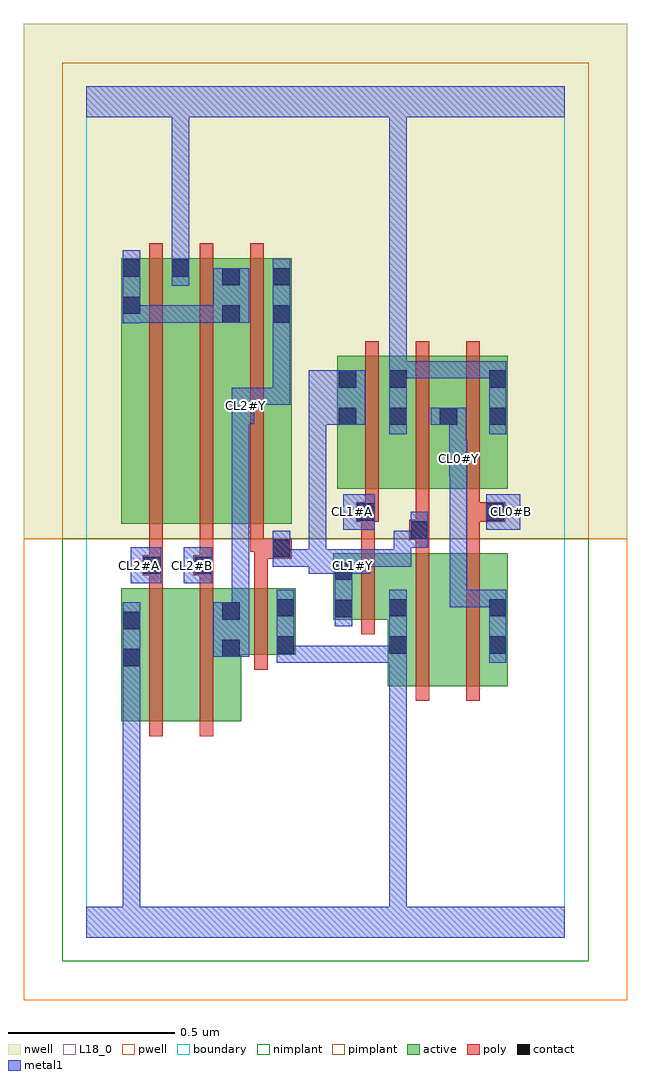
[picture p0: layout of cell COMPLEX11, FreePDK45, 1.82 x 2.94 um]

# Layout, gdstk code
import gdstk
lib = gdstk.Library(unit=1e-6, precision=1e-09)
def R(c, l, rs):  # rectangles x0, y0, x1, y1
    for r in rs: c.add(gdstk.rectangle(r[:2], r[2:], *l))
def A(c, l, x, y, w, h, nx, ny, dx, dy):  # array of equal rectangles
    R(c, l, [(x+i*dx, y+j*dy, x+i*dx+w, y+j*dy+h) for i in range(nx) for j in range(ny)])
active = (1, 0)
pwell = (2, 0)
nwell = (3, 0)
nimplant = (4, 0)
pimplant = (5, 0)
poly = (9, 0)
contact = (10, 0)
metal1 = (11, 0)
L18_0 = (18, 0)
boundary = (235, 0)

complex11 = lib.new_cell('COMPLEX11')
R(complex11, active, [(0.106,0.65,0.286,1.05), (0.286,0.65,0.466,1.05), (0.406,0.65,0.466,1.012), (0.106,0.756,0.166,1.05), (0.908,0.756,0.968,1.156), (0.908,0.756,1.088,1.156), (1.088,0.756,1.268,1.156), (1.208,0.756,1.268,1.156), (0.406,0.85,0.63,1.05), (0.57,0.85,0.63,1.05), (0.744,0.956,0.968,1.156), (0.744,0.956,0.804,1.156), (0.106,1.244,0.166,2.044), (0.106,1.244,0.314,2.044), (0.254,1.244,0.466,2.044), (0.406,1.244,0.618,2.044), (0.558,1.244,0.618,2.044), (0.756,1.35,0.816,1.71), (0.756,1.35,0.968,1.75), (0.908,1.35,0.968,1.71), (0.908,1.35,1.12,1.75), (1.06,1.35,1.12,1.644), (1.06,1.35,1.268,1.75), (1.208,1.35,1.268,1.71), (0.254,1.686,0.314,2.044), (0.406,1.686,0.466,2.044)])
R(complex11, pwell, [(-0.188,-0.188,1.628,1.2)])
R(complex11, nwell, [(-0.188,1.2,1.628,2.748)])
R(complex11, nimplant, [(-0.072,-0.072,1.512,1.2)])
R(complex11, pimplant, [(-0.072,1.2,1.512,2.632)])
A(complex11, poly, 0.19, 1.2, 0.04, 0.888, 3, 1, 0.152, 0)
A(complex11, poly, 0.84, 1.306, 0.04, 0.488, 3, 1, 0.152, 0)
R(complex11, poly, [(0.19,0.606,0.23,1.094), (0.342,0.606,0.382,1.094), (0.992,0.712,1.032,1.2), (1.144,0.712,1.184,1.2), (0.506,0.806,0.546,1.094), (0.828,0.912,0.868,1.2), (0.19,1.054,0.23,1.13), (0.342,1.054,0.382,1.13), (0.506,1.054,0.546,1.18), (0.17,1.09,0.23,1.15), (0.322,1.09,0.382,1.15), (0.19,1.11,0.23,1.15), (0.19,1.11,0.23,1.15), (0.19,1.11,0.23,1.24), (0.342,1.11,0.382,1.15), (0.342,1.11,0.382,1.15), (0.342,1.11,0.382,1.24), (0.506,1.14,0.618,1.2), (0.494,1.16,0.534,1.24), (0.494,1.16,0.546,1.2), (0.506,1.16,0.546,1.2), (0.828,1.16,0.868,1.29), (0.992,1.16,1.032,1.236), (1.144,1.16,1.184,1.29), (0.972,1.196,1.032,1.256), (0.992,1.216,1.032,1.256), (0.992,1.216,1.032,1.256), (0.992,1.216,1.032,1.346), (0.812,1.25,0.88,1.31), (0.828,1.25,0.868,1.29), (0.828,1.25,0.868,1.29), (1.144,1.25,1.26,1.31), (0.84,1.27,0.88,1.346), (1.144,1.27,1.184,1.346), (1.144,1.27,1.184,1.31), (1.144,1.27,1.184,1.31)])
A(complex11, contact, 0.76, 1.542, 0.052, 0.052, 3, 1, 0.152, 0)
R(complex11, contact, [(0.11,0.816,0.162,0.868), (0.41,0.844,0.462,0.896), (0.574,0.854,0.626,0.906), (0.912,0.854,0.964,0.906), (1.212,0.854,1.264,0.906), (0.11,0.928,0.162,0.98), (0.41,0.956,0.462,1.008), (0.748,0.964,0.8,1.016), (0.574,0.966,0.626,1.018), (0.912,0.966,0.964,1.018), (1.212,0.966,1.264,1.018), (0.748,1.076,0.8,1.128), (0.174,1.094,0.226,1.146), (0.326,1.094,0.378,1.146), (0.562,1.144,0.614,1.196), (0.976,1.2,1.028,1.252), (0.816,1.254,0.868,1.306), (1.204,1.254,1.256,1.306), (1.212,1.542,1.264,1.594), (0.76,1.654,0.812,1.706), (0.912,1.654,0.964,1.706), (1.212,1.654,1.264,1.706), (0.41,1.85,0.462,1.902), (0.562,1.85,0.614,1.902), (0.11,1.876,0.162,1.928), (0.41,1.962,0.462,2.014), (0.562,1.962,0.614,2.014), (0.11,1.988,0.162,2.04), (0.258,1.988,0.31,2.04)])
R(complex11, metal1, [(0,0,1.44,0.092), (0.11,0.04,0.162,0.092), (0.11,0.04,0.162,0.092), (0.11,0.04,0.162,0.84), (0.912,0.04,0.964,0.878), (0.11,0.788,0.162,0.84), (0.11,0.788,0.162,0.84), (0.11,0.788,0.162,0.84), (0.11,0.788,0.162,0.84), (0.11,0.788,0.162,0.84), (0.11,0.788,0.162,0.84), (0.11,0.788,0.162,0.84), (0.11,0.788,0.162,0.84), (0.11,0.788,0.162,0.84), (0.11,0.788,0.162,0.84), (0.11,0.788,0.162,1.008), (0.574,0.826,0.626,1.046), (0.574,0.826,0.854,0.878), (0.802,0.826,0.854,0.878), (0.802,0.826,0.854,0.878), (0.802,0.826,0.854,0.878), (0.802,0.826,0.854,0.878), (0.802,0.826,0.854,0.878), (0.802,0.826,0.854,0.878), (0.802,0.826,0.854,0.878), (0.802,0.826,0.964,0.878), (0.912,0.826,0.964,0.878), (0.912,0.826,0.964,0.878), (0.912,0.826,0.964,0.878), (0.912,0.826,0.964,0.878), (0.912,0.826,0.964,0.878), (0.912,0.826,0.964,0.878), (0.912,0.826,0.964,0.878), (0.912,0.826,0.964,0.878), (0.912,0.826,0.964,0.878), (0.912,0.826,0.964,0.878), (0.912,0.826,0.964,0.878), (0.912,0.826,0.964,0.878), (0.912,0.826,0.964,1.046), (1.212,0.826,1.264,1.046), (0.382,0.844,0.49,1.008), (0.748,0.936,0.8,1.156), (0.438,0.956,0.49,1.598), (1.094,0.994,1.146,1.046), (1.094,0.994,1.264,1.046), (1.094,0.994,1.146,1.438), (1.212,0.994,1.264,1.046), (1.212,0.994,1.264,1.046), (0.134,1.066,0.226,1.174), (0.294,1.066,0.378,1.174), (0.67,1.094,0.854,1.168), (0.748,1.094,0.8,1.146), (0.562,1.116,0.614,1.224), (0.562,1.116,0.716,1.168), (0.664,1.116,0.716,1.168), (0.664,1.116,0.722,1.168), (0.67,1.116,0.722,1.594), (0.802,1.116,0.854,1.168), (0.802,1.116,0.854,1.168), (0.802,1.116,0.978,1.168), (0.926,1.116,0.978,1.224), (0.926,1.172,1.028,1.224), (0.976,1.172,1.028,1.28), (0.774,1.226,0.868,1.334), (1.204,1.226,1.306,1.334), (1.092,1.386,1.146,1.494), (1.092,1.442,1.144,1.494), (1.092,1.442,1.144,1.494), (1.092,1.442,1.144,1.594), (0.912,1.514,0.964,1.734), (1.212,1.514,1.264,1.734), (0.67,1.542,0.722,1.594), (0.67,1.542,0.722,1.594), (0.67,1.542,0.84,1.706), (1.036,1.542,1.144,1.594), (0.438,1.546,0.506,1.654), (0.452,1.602,0.504,1.654), (0.452,1.602,0.504,1.654), (0.452,1.602,0.504,1.654), (0.452,1.602,0.504,1.654), (0.452,1.602,0.614,1.654), (0.562,1.602,0.614,1.654), (0.562,1.602,0.614,1.874), (0.912,1.682,0.964,1.734), (0.912,1.682,0.964,1.734), (0.912,1.682,0.964,1.734), (0.912,1.682,0.964,1.734), (0.912,1.682,0.964,1.734), (0.912,1.682,0.964,1.734), (0.912,1.682,0.964,1.734), (0.912,1.682,0.964,1.734), (0.912,1.682,0.964,1.734), (0.912,1.682,0.964,1.734), (0.912,1.682,0.964,1.734), (0.912,1.682,0.964,1.734), (0.912,1.682,0.964,1.734), (0.912,1.682,0.964,1.734), (0.912,1.682,0.964,1.734), (0.912,1.682,0.964,1.734), (0.912,1.682,1.154,1.734), (0.912,1.682,0.964,2.52), (1.102,1.682,1.154,1.734), (1.102,1.682,1.264,1.734), (1.212,1.682,1.264,1.734), (1.212,1.682,1.264,1.734), (0.562,1.822,0.614,2.042), (0.11,1.848,0.162,2.068), (0.11,1.85,0.162,1.902), (0.11,1.85,0.162,1.902), (0.11,1.85,0.324,1.902), (0.272,1.85,0.324,1.902), (0.272,1.85,0.324,1.902), (0.272,1.85,0.324,1.902), (0.272,1.85,0.434,1.902), (0.382,1.85,0.49,2.014), (0.258,1.96,0.31,2.068), (0.258,2.016,0.31,2.068), (0.258,2.016,0.31,2.068), (0.258,2.016,0.31,2.068), (0.258,2.016,0.31,2.068), (0.258,2.016,0.31,2.52), (0,2.468,1.44,2.56), (0.258,2.468,0.31,2.52), (0.258,2.468,0.31,2.52), (0.258,2.468,0.31,2.52), (0.258,2.468,0.31,2.52), (0.912,2.468,0.964,2.52), (0.912,2.468,0.964,2.52)])
R(complex11, L18_0, [(0,0,1.44,0.092), (0.11,0.04,0.162,0.092), (0.11,0.04,0.162,0.092), (0.11,0.04,0.162,0.84), (0.912,0.04,0.964,0.878), (0.11,0.788,0.162,0.84), (0.11,0.788,0.162,0.84), (0.11,0.788,0.162,0.84), (0.11,0.788,0.162,0.84), (0.11,0.788,0.162,0.84), (0.11,0.788,0.162,0.84), (0.11,0.788,0.162,0.84), (0.11,0.788,0.162,0.84), (0.11,0.788,0.162,0.84), (0.11,0.788,0.162,0.84), (0.11,0.788,0.162,1.008), (0.574,0.826,0.626,1.046), (0.574,0.826,0.854,0.878), (0.802,0.826,0.854,0.878), (0.802,0.826,0.854,0.878), (0.802,0.826,0.854,0.878), (0.802,0.826,0.854,0.878), (0.802,0.826,0.854,0.878), (0.802,0.826,0.854,0.878), (0.802,0.826,0.854,0.878), (0.802,0.826,0.964,0.878), (0.912,0.826,0.964,0.878), (0.912,0.826,0.964,0.878), (0.912,0.826,0.964,0.878), (0.912,0.826,0.964,0.878), (0.912,0.826,0.964,0.878), (0.912,0.826,0.964,0.878), (0.912,0.826,0.964,0.878), (0.912,0.826,0.964,0.878), (0.912,0.826,0.964,0.878), (0.912,0.826,0.964,0.878), (0.912,0.826,0.964,0.878), (0.912,0.826,0.964,0.878), (0.912,0.826,0.964,1.046), (1.212,0.826,1.264,1.046), (0.382,0.844,0.49,1.008), (0.748,0.936,0.8,1.156), (0.438,0.956,0.49,1.598), (1.094,0.994,1.146,1.046), (1.094,0.994,1.146,1.438), (1.094,0.994,1.264,1.046), (1.212,0.994,1.264,1.046), (1.212,0.994,1.264,1.046), (0.134,1.066,0.226,1.174), (0.294,1.066,0.378,1.174), (0.134,1.094,0.186,1.146), (0.294,1.094,0.346,1.146), (0.67,1.094,0.854,1.168), (0.748,1.094,0.8,1.146), (0.774,1.094,0.826,1.146), (0.562,1.116,0.614,1.224), (0.562,1.116,0.716,1.168), (0.664,1.116,0.716,1.168), (0.664,1.116,0.722,1.168), (0.67,1.116,0.722,1.594), (0.802,1.116,0.854,1.168), (0.802,1.116,0.854,1.168), (0.802,1.116,0.978,1.168), (0.926,1.116,0.978,1.224), (0.926,1.172,1.028,1.224), (0.976,1.172,1.028,1.28), (0.774,1.226,0.868,1.334), (1.204,1.226,1.306,1.334), (0.774,1.254,0.826,1.306), (1.254,1.254,1.306,1.306), (1.092,1.386,1.146,1.494), (1.094,1.414,1.146,1.466), (1.092,1.442,1.144,1.494), (1.092,1.442,1.144,1.494), (1.092,1.442,1.144,1.594), (0.912,1.514,0.964,1.734), (1.212,1.514,1.264,1.734), (0.67,1.542,0.722,1.594), (0.67,1.542,0.722,1.594), (0.67,1.542,0.84,1.706), (1.036,1.542,1.144,1.594), (0.438,1.546,0.506,1.654), (0.454,1.574,0.506,1.626), (0.452,1.602,0.504,1.654), (0.452,1.602,0.504,1.654), (0.452,1.602,0.504,1.654), (0.452,1.602,0.504,1.654), (0.452,1.602,0.614,1.654), (0.562,1.602,0.614,1.654), (0.562,1.602,0.614,1.874), (0.912,1.682,0.964,1.734), (0.912,1.682,0.964,1.734), (0.912,1.682,0.964,1.734), (0.912,1.682,0.964,1.734), (0.912,1.682,0.964,1.734), (0.912,1.682,0.964,1.734), (0.912,1.682,0.964,1.734), (0.912,1.682,0.964,1.734), (0.912,1.682,0.964,1.734), (0.912,1.682,0.964,1.734), (0.912,1.682,0.964,1.734), (0.912,1.682,0.964,1.734), (0.912,1.682,0.964,1.734), (0.912,1.682,0.964,1.734), (0.912,1.682,0.964,1.734), (0.912,1.682,0.964,1.734), (0.912,1.682,0.964,2.52), (0.912,1.682,1.154,1.734), (1.102,1.682,1.154,1.734), (1.102,1.682,1.264,1.734), (1.212,1.682,1.264,1.734), (1.212,1.682,1.264,1.734), (0.562,1.822,0.614,2.042), (0.258,1.96,0.31,2.068), (0.258,2.016,0.31,2.068), (0.258,2.016,0.31,2.068), (0.258,2.016,0.31,2.068), (0.258,2.016,0.31,2.068), (0.258,2.016,0.31,2.52), (0,2.468,1.44,2.56), (0.258,2.468,0.31,2.52), (0.258,2.468,0.31,2.52), (0.258,2.468,0.31,2.52), (0.258,2.468,0.31,2.52), (0.912,2.468,0.964,2.52), (0.912,2.468,0.964,2.52)])
R(complex11, boundary, [(0,0,1.44,2.56)])
complex11.add(gdstk.Label('CL0#B', (1.28,1.28), layer=11, texttype=0))
complex11.add(gdstk.Label('CL0#Y', (1.12,1.44), layer=11, texttype=0))
complex11.add(gdstk.Label('CL1#A', (0.8,1.28), layer=11, texttype=0))
complex11.add(gdstk.Label('CL1#Y', (0.8,1.12), layer=11, texttype=0))
complex11.add(gdstk.Label('CL2#A', (0.16,1.12), layer=11, texttype=0))
complex11.add(gdstk.Label('CL2#B', (0.32,1.12), layer=11, texttype=0))
complex11.add(gdstk.Label('CL2#Y', (0.48,1.6), layer=11, texttype=0))

lib.write_gds('COMPLEX11.gds')
